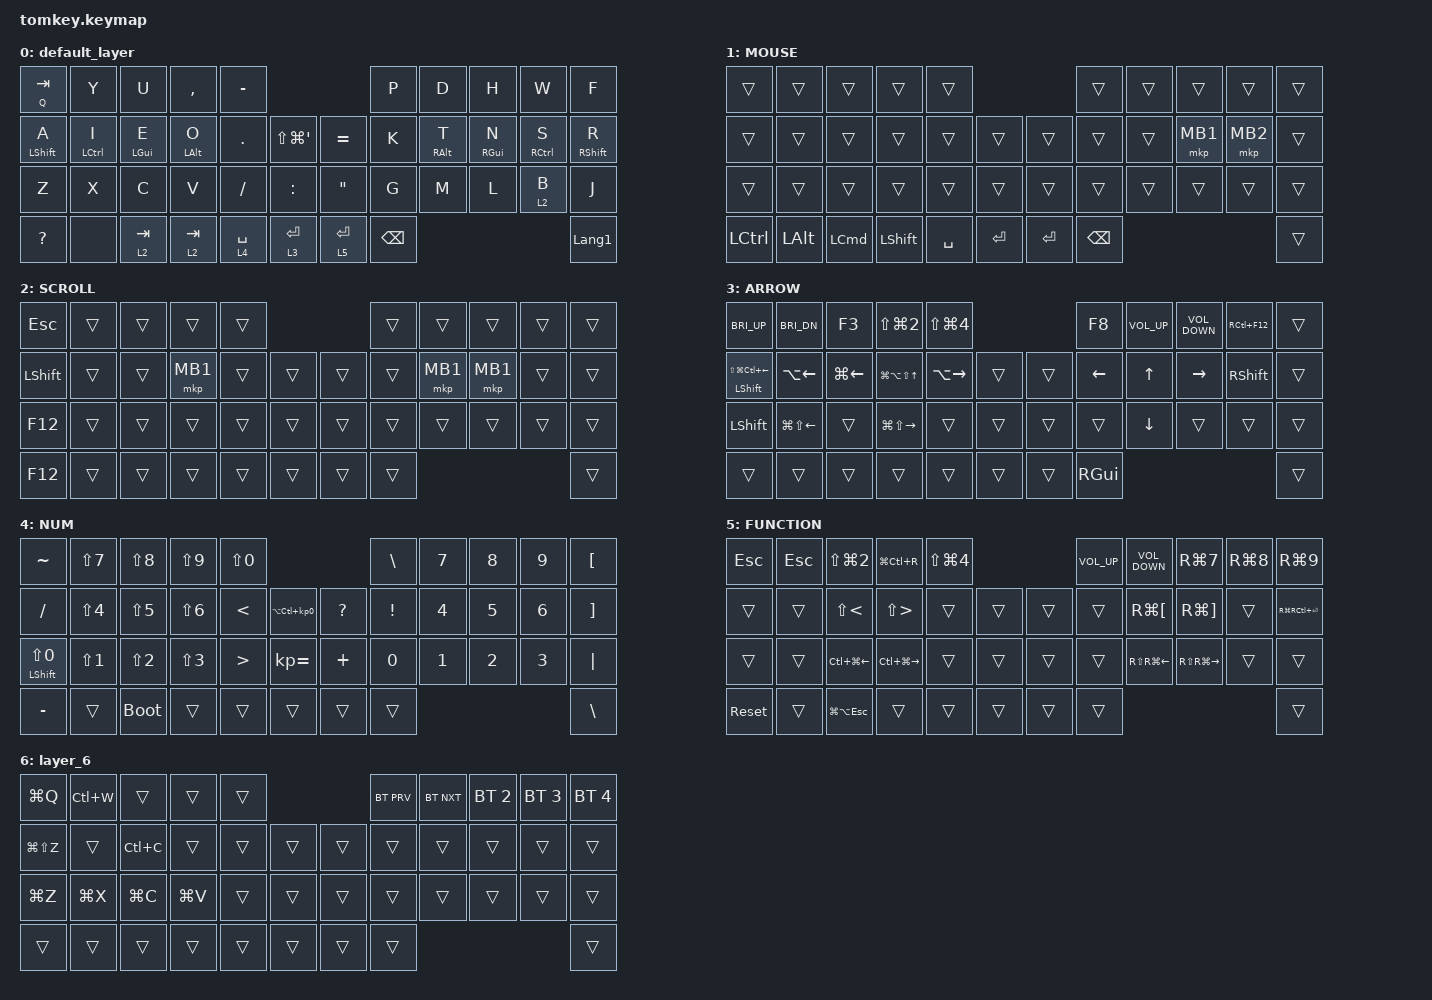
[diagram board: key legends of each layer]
#include <behaviors.dtsi>
#include <dt-bindings/zmk/bt.h>
#include <dt-bindings/zmk/keys.h>
#include <dt-bindings/zmk/pointing.h>

&mt {
    flavor = "balanced";
    quick-tap-ms = <0>;
};

/ {
    combos {
        compatible = "zmk,combos";

        kana {
            bindings = <&kp LANGUAGE_1>;
            key-positions = <18 19>;
            timeout-ms = <150>;
            layers = <0>;
        };

        eisuu {
            bindings = <&kp LANGUAGE_2>;
            key-positions = <12 13>;
            slow-release;
            timeout-ms = <150>;
            layers = <0>;
        };
    };

    behaviors {
        new_behavior: new_behavior {
            compatible = "zmk,behavior-hold-tap";
            label = "NEW_BEHAVIOR";
            bindings = <&none>, <&none>;

            #binding-cells = <2>;
            tapping-term-ms = <200>;
            quick-tap-ms = <0>;
            flavor = "balanced";
        };
    };

    keymap {
        compatible = "zmk,keymap";

        default_layer {
            bindings = <
&mt Q TAB         &kp Y        &kp U           &kp COMMA       &kp MINUS                                             &kp P          &kp D            &kp H            &kp W        &kp F
&mt LEFT_SHIFT A  &mt LCTRL I  &mt LEFT_GUI E  &mt LEFT_ALT O  &kp PERIOD   &kp LS(LG(APOS))      &kp EQUAL          &kp K          &mt RIGHT_ALT T  &mt RIGHT_GUI N  &mt RCTRL S  &mt RIGHT_SHIFT R
&kp Z             &kp X        &kp C           &kp V           &kp SLASH    &kp COLON             &kp DOUBLE_QUOTES  &kp G          &kp M            &kp L            &lt 2 B      &kp J
&kp QUESTION      &none        &lt 2 TAB       &lt 2 TAB       &lt 4 SPACE  &lt 3 ENTER           &lt 5 ENTER        &kp BACKSPACE                                                 &kp LANGUAGE_1
            >;
        };

        MOUSE {
            bindings = <
&trans     &trans        &trans            &trans          &trans                               &trans         &trans  &trans    &trans    &trans
&trans     &trans        &trans            &trans          &trans     &trans         &trans     &trans         &trans  &mkp MB1  &mkp MB2  &trans
&trans     &trans        &trans            &trans          &trans     &trans         &trans     &trans         &trans  &trans    &trans    &trans
&kp LCTRL  &kp LEFT_ALT  &kp LEFT_COMMAND  &kp LEFT_SHIFT  &kp SPACE  &kp ENTER      &kp ENTER  &kp BACKSPACE                              &trans
            >;
        };

        SCROLL {
            bindings = <
&kp ESCAPE      &trans  &trans  &trans    &trans                      &trans  &trans    &trans    &trans  &trans
&kp LEFT_SHIFT  &trans  &trans  &mkp MB1  &trans  &trans      &trans  &trans  &mkp MB1  &mkp MB1  &trans  &trans
&kp F12         &trans  &trans  &trans    &trans  &trans      &trans  &trans  &trans    &trans    &trans  &trans
&kp F12         &trans  &trans  &trans    &trans  &trans      &trans  &trans                              &trans
            >;
        };

        ARROW {
            bindings = <
&kp C_BRI_UP                           &kp C_BRI_DN            &kp F3        &kp LS(LG(NUMBER_2))      &kp LS(LG(NUMBER_4))                      &kp F8          &kp K_VOLUME_UP  &kp K_VOLUME_DOWN  &kp RC(F12)      &trans
&mt LEFT_SHIFT LS(LG(LC(LEFT_ARROW)))  &kp LA(LEFT_ARROW)      &kp LG(LEFT)  &kp LG(LA(LS(UP_ARROW)))  &kp LA(RIGHT_ARROW)   &trans      &trans  &kp LEFT_ARROW  &kp UP_ARROW     &kp RIGHT_ARROW    &kp RIGHT_SHIFT  &trans
&kp LEFT_SHIFT                         &kp LG(LS(LEFT_ARROW))  &trans        &kp LG(LS(RIGHT_ARROW))   &trans                &trans      &trans  &trans          &kp DOWN_ARROW   &trans             &trans           &trans
&trans                                 &trans                  &trans        &trans                    &trans                &trans      &trans  &kp RIGHT_GUI                                                        &trans
            >;
        };

        NUM {
            bindings = <
&kp TILDE                    &kp LS(NUMBER_7)  &kp LS(NUMBER_8)  &kp LS(N9)        &kp LS(N0)                                                   &kp BACKSLASH    &kp NUMBER_7  &kp NUMBER_8  &kp NUMBER_9  &kp LEFT_BRACKET
&kp SLASH                    &kp LS(NUMBER_4)  &kp LS(NUMBER_5)  &kp LS(NUMBER_6)  &kp LT            &kp LA(LC(KP_NUMBER_0))      &kp QUESTION  &kp EXCLAMATION  &kp NUMBER_4  &kp NUMBER_5  &kp NUMBER_6  &kp RBKT
&mt LEFT_SHIFT LS(NUMBER_0)  &kp LS(NUMBER_1)  &kp LS(NUMBER_2)  &kp LS(NUMBER_3)  &kp GREATER_THAN  &kp KP_EQUAL                 &kp PLUS      &kp NUMBER_0     &kp NUMBER_1  &kp NUMBER_2  &kp NUMBER_3  &kp PIPE
&kp MINUS                    &trans            &bootloader       &trans            &trans            &trans                       &trans        &trans                                                     &kp BACKSLASH
            >;
        };

        FUNCTION {
            bindings = <
&kp ESCAPE  &kp ESCAPE  &kp LS(LG(NUMBER_2))    &kp LG(LC(R))            &kp LS(LG(NUMBER_4))                      &kp K_VOL_UP  &kp K_VOLUME_DOWN       &kp RG(N7)         &kp RG(N8)  &kp RG(N9)
&trans      &trans      &kp LS(LESS_THAN)       &kp LS(GREATER_THAN)     &trans                &trans      &trans  &trans        &kp RG(LBKT)            &kp RG(RBKT)       &trans      &kp RG(RC(ENTER))
&trans      &trans      &kp LC(LG(LEFT_ARROW))  &kp LC(LG(RIGHT_ARROW))  &trans                &trans      &trans  &trans        &kp RS(RG(LEFT_ARROW))  &kp RS(RG(RIGHT))  &trans      &trans
&sys_reset  &trans      &kp LG(LA(ESCAPE))      &trans                   &trans                &trans      &trans  &trans                                                               &trans
            >;
        };

        layer_6 {
            bindings = <
&kp LG(Q)      &kp LC(W)  &trans     &trans     &trans                      &bt BT_PRV  &bt BT_NXT  &bt BT_SEL 2  &bt BT_SEL 3  &bt BT_SEL 4
&kp LG(LS(Z))  &trans     &kp LC(C)  &trans     &trans  &trans      &trans  &trans      &trans      &trans        &trans        &trans
&kp LG(Z)      &kp LG(X)  &kp LG(C)  &kp LG(V)  &trans  &trans      &trans  &trans      &trans      &trans        &trans        &trans
&trans         &trans     &trans     &trans     &trans  &trans      &trans  &trans                                              &trans
            >;
        };
    };
};
